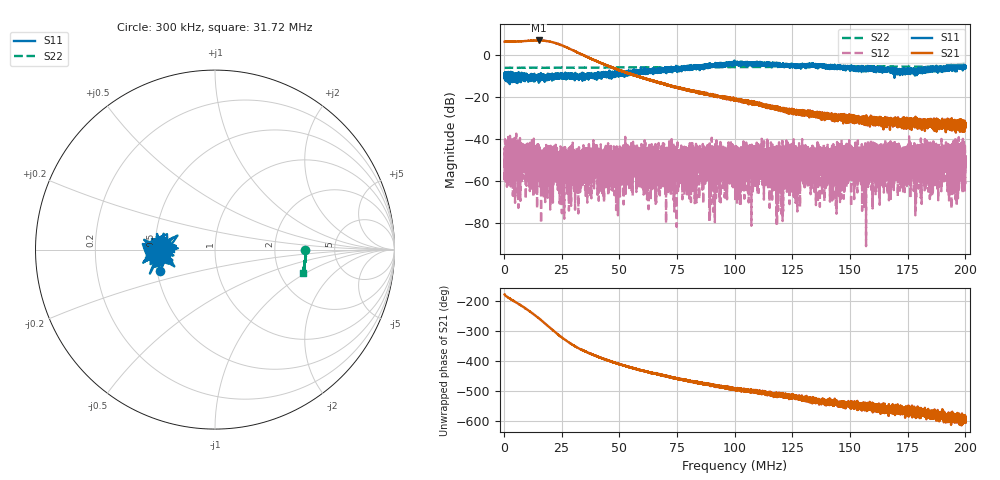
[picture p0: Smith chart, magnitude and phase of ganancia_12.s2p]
# Hz S DB R 50
! CMT, M5065, 19127446, 24.2.4/2
! Date: 10/29/2024 12:04:01 PM
! Data: Format (Calibration Info)
! Freq	S11:dB/Ang(F2)	S21:dB/Ang(F2)	S12:dB/Ang(F2)	S22:dB/Ang(F2)
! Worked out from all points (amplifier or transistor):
!   9000 points, 300 kHz to 200 MHz, reference 50 ohm
!   highest |S21| = 7.1 dB at 15.12 MHz (marker M1)
!   |S21| within 3 dB of that: start of sweep to 26.58 MHz
!   unconditionally stable (mu >= 1): start of sweep to end of sweep
!   at 33.59 MHz: K = 218.04, MAG = 2.1 dB, |S12| = -56.6 dB
!   at 100.2 MHz: K = 522.76, MAG = -17.8 dB, |S12| = -46.0 dB
!   at 200 MHz: K = 6133.16, MAG = -29.9 dB, |S12| = -54.9 dB
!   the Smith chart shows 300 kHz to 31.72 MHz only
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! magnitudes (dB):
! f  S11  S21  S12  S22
! 300 kHz  -9.7  6.5  -49.3  -6.0
! 2.519 MHz  -13.7  6.5  -40.3  -6.0
! 15.12 MHz  -9.9  7.1  -43.7  -6.0
! 20.63 MHz  -9.3  6.3  -56.9  -5.9
! 26.4 MHz  -10.4  4.2  -53.6  -5.9
! 31.3 MHz  -10.1  1.6  -51.1  -5.9
! 33.59 MHz  -10.8  0.5  -56.6  -5.9
! 39.45 MHz  -9.6  -2.4  -50.6  -5.9
! 41.73 MHz  -9.8  -3.5  -46.7  -5.8
! 44.9 MHz  -9.5  -4.9  -47.3  -5.8
! 49.37 MHz  -8.2  -6.8  -47.9  -5.8
! 50.67 MHz  -8.0  -7.4  -52.5  -5.7
! 66.87 MHz  -7.9  -13.0  -52.5  -5.7
! 87.47 MHz  -5.4  -18.1  -53.0  -5.6
! 89.98 MHz  -4.5  -19.1  -50.1  -5.6
! 93.53 MHz  -4.8  -19.7  -49.1  -5.6
! 100.2 MHz  -4.3  -21.2  -46.0  -5.6
! 133.4 MHz  -4.9  -28.0  -47.4  -5.3
! 166.7 MHz  -6.5  -31.2  -45.2  -5.3
! 191.1 MHz  -6.4  -32.5  -45.4  -5.4
! 199 MHz  -5.8  -36.4  -46.6  -5.5
! 200 MHz  -5.2  -32.9  -54.9  -5.5
